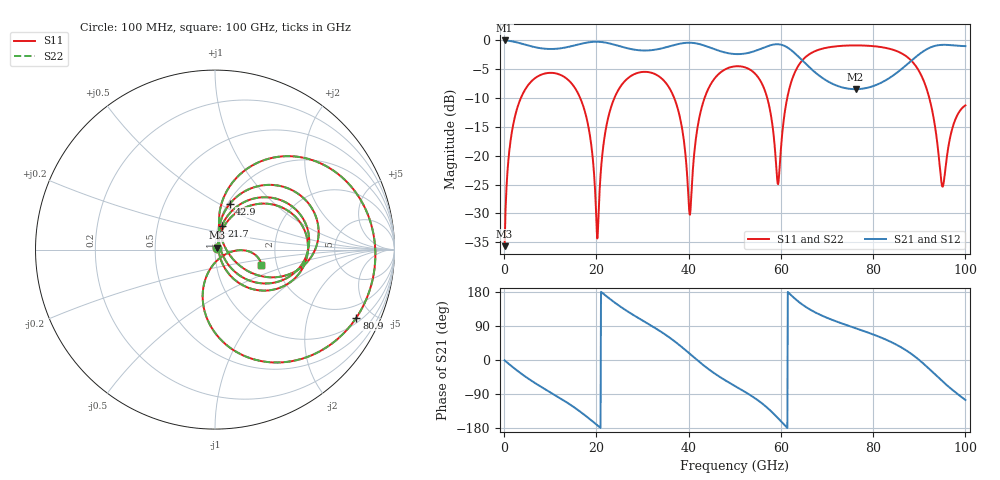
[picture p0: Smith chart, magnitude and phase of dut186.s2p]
! Touchstone file exported from HFSS 2026.1.0
!  File:  C:/ffzhzh/LocalFiles/Ansys_Project_Files/temp_test_TSV_RDL_186_1783477466_33644.aedt
!  Generated:  10:35:25 AM Jul  8, 2026
!  Design:  TSV_RDL
!  Project:  temp_test_TSV_RDL_186_1783477466_33644
! Variables:
!  h_bsmrdl = 3.91um
!  h_ox = 20um
!  h_rdl = 5um
!  h_sub = 51.6um
!  h_tmrdl = 3.76um
!  h_tsv = 51.6um
!  h_via = 3um
!  l_bsmrdl = 129.63um
!  l_sub = 3042um
!  l_tmrdl = 529.61um
!  m_sub = 200um
!  pitch = 48.05um
!  r_tsv = 10.42um
!  s_tmrdl = 10um
!  w_bsmrdl = 25.32um
!  w_sub = 500um
!  w_tmrdl = 19.57um
!  x_tsv_center1 = 539.395um
!  x_tsv_center2 = 694.345um
!  x_tsv_center3 = 1243.525um
!  x_tsv_center4 = 1398.475um
!  x_tsv_center5 = 1947.655um
!  x_tsv_center6 = 2102.605um
# GHz S MA R 50.000000
! Terminal data exported
! Port[1] = TM_RDL1_1_T1
! Port[2] = TM_RDL5_1_T1
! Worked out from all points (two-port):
!   1000 points, 100 MHz to 100 GHz, reference 50 ohm
!   highest |S21| = -0.11 dB at 100 MHz (marker M1); lowest = -8.5 dB at 76.2 GHz (marker M2)
!   |S21| within 3 dB of the highest: start of sweep to 64.06 GHz; 89.03 GHz to end of sweep
!   lowest |S11| = -35.6 dB at 100 MHz (marker M3), VSWR 1.03, Z = 51.3 + j1.06 ohm
!   |S11| at or under -10 dB: 16.46 GHz to 23.93 GHz (7.467 GHz wide, 37 % of centre); 36.84 GHz to 43.48 GHz (6.633 GHz wide, 16.5 % of centre); 92.16 GHz to end of sweep (the widest 3 of 5)
!   |S22| runs from -35.6 to -1.0 dB; largest |S21 - S12| = 1.8e-14
!   S11 on the Smith chart (normalised r, x): 100 MHz: 1.03, +0.02; 21.7 GHz: 1.04, +0.28; 42.9 GHz: 1.02, +0.56; 80.9 GHz: 1.25, -4.02; 100 GHz: 1.66, -0.30
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0.1  0.01651 38.8  0.9873 -1.1  0.9873 -1.1  0.01651 38.8
! Gamma 0 0 0 0
! Port Impedance 50 0 50 0
1.6  0.1535 67.7  0.9718 -16.2  0.9718 -16.2  0.1535 67.7
4.7  0.3802 42.4  0.9049 -44.7  0.9049 -44.7  0.3802 42.4
16.8  0.2929 -47.7  0.9262 -139.1  0.9262 -139.1  0.2929 -47.6
20.2  0.01924 4.4  0.9623 -172.2  0.9623 -172.2  0.01966 4.5
21.7  0.1394 73.9  0.9502 172.9  0.9502 172.9  0.1394 73.7
25.8  0.4238 43.2  0.864 135.9  0.864 135.9  0.4238 43.1
33.4  0.4883 -10.4  0.8307 79.3  0.8307 79.3  0.4884 -10.4
37.8  0.2408 -43.4  0.9202 41.3  0.9202 41.3  0.241 -43.4
40.2  0.03106 4.9  0.9438 16.9  0.9438 16.9  0.03132 4.7
42.9  0.2667 72.2  0.9055 -10.8  0.9055 -10.8  0.2667 72.1
50.1  0.5904 20.0  0.7533 -69.1  0.7533 -69.1  0.5903 20.0
56.3  0.3848 -23.3  0.8567 -118.3  0.8567 -118.3  0.3847 -23.4
59.4  0.05663 29.0  0.9156 -153.8  0.9156 -153.8  0.05629 29.0
62  0.4013 74.4  0.8277 173.5  0.8277 173.5  0.4012 74.5
66.7  0.7735 37.1  0.554 130.5  0.554 130.5  0.7734 37.1
76.2  0.895 -6.4  0.3747 83.9  0.3747 83.9  0.895 -6.4
80.9  0.8743 -25.7  0.4112 63.2  0.4112 63.2  0.8742 -25.7
83.4  0.8397 -37.7  0.4645 50.3  0.4645 50.3  0.8396 -37.7
90.9  0.4485 -91.4  0.7966 -9.5  0.7966 -9.5  0.4484 -91.3
95  0.05404 -57.8  0.9048 -55.9  0.9048 -55.9  0.05408 -57.6
100  0.2715 -18.2  0.8819 -105.5  0.8819 -105.5  0.2716 -18.2
